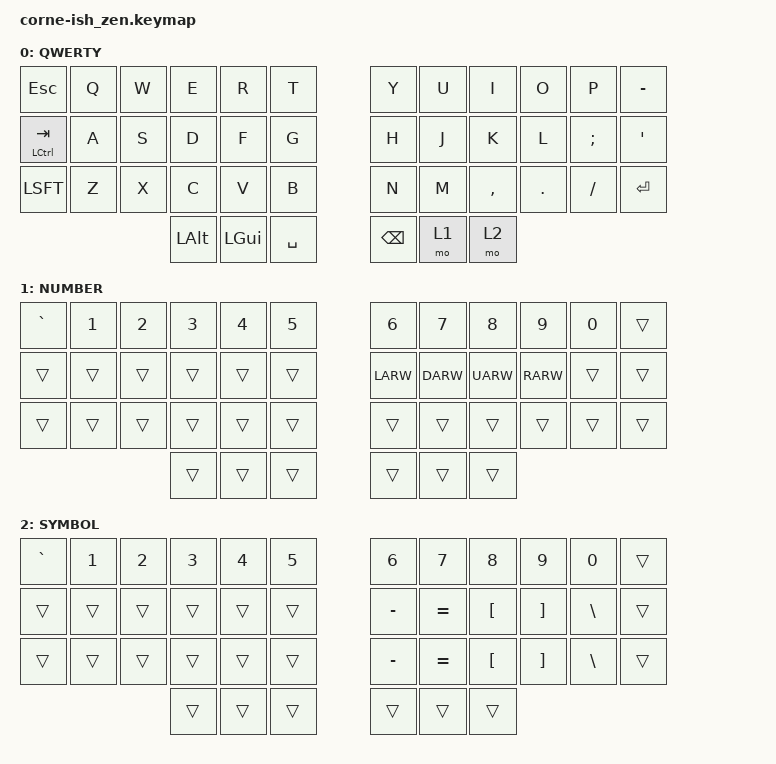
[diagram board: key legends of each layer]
/*
*
* Copyright (c) 2021 Darryl deHaan
* SPDX-License-Identifier: MIT
*
*/

#include <behaviors.dtsi>
#include <dt-bindings/zmk/keys.h>
#include <dt-bindings/zmk/bt.h>

/ {
        keymap {
                compatible = "zmk,keymap";

                default_layer {
                        label = "QWERTY";
// -----------------------------------------------------------------------------------------
// |  TAB |  Q  |  W  |  E  |  R  |  T  |   |  Y  |  U   |  I  |  O  |  P  | BKSP |
// | CTRL |  A  |  S  |  D  |  F  |  G  |   |  H  |  J   |  K  |  L  |  ;  |  '   |
// | SHFT |  Z  |  X  |  C  |  V  |  B  |   |  N  |  M   |  ,  |  .  |  /  | ESC  |
//                    | GUI | LWR | SPC |   | ENT | RSE  | ALT |
                        bindings = <
//   &kp TAB   &kp Q &kp W &kp E &kp R &kp T   &kp Y &kp U  &kp I     &kp O   &kp P    &kp BSPC
//   &kp LCTRL &kp A &kp S &kp D &kp F &kp G   &kp H &kp J  &kp K     &kp L   &kp SEMI &kp SQT
//   &kp LSHFT &kp Z &kp X &kp C &kp V &kp B   &kp N &kp M  &kp COMMA &kp DOT &kp FSLH &kp ESC
//                  &kp LGUI &mo 1 &kp SPACE   &kp RET &mo 2 &kp RALT

&kp ESC         &kp Q     &kp W     &kp E     &kp R    &kp T                               &kp Y     &kp U     &kp I      &kp O     &kp P      &kp MINUS 
&mt LCTL TAB    &kp A     &kp S     &kp D     &kp F    &kp G                               &kp H     &kp J     &kp K      &kp L     &kp SCLN   &kp QUOT
&kp LSFT        &kp Z     &kp X     &kp C     &kp V    &kp B                               &kp N     &kp M     &kp CMMA   &kp DOT   &kp FSLH   &kp RET
                                              &kp LALT  &kp LGUI  &kp SPC      &kp BKSP    &mo 1   &mo 2
                        >;
                };
                lower_layer {
                        label = "NUMBER";
// -----------------------------------------------------------------------------------------
// |  TAB |  1  |  2  |  3  |  4  |  5  |   |  6  |  7  |  8  |  9  |  0  | BKSP |
// | BTCLR| BT1 | BT2 | BT3 | BT4 | BT5 |   | LFT | DWN |  UP | RGT |     |      |
// | SHFT |     |     |     |     |     |   |     |     |     |     |     |      |
//                    | GUI |     | SPC |   | ENT |     | ALT |
                        bindings = <
//   &kp TAB    &kp N1       &kp N2       &kp N3       &kp N4       &kp N5         &kp N6   &kp N7   &kp N8 &kp N9    &kp N0 &kp BSPC
//   &bt BT_CLR &bt BT_SEL 0 &bt BT_SEL 1 &bt BT_SEL 2 &bt BT_SEL 3 &bt BT_SEL 4   &kp LEFT &kp DOWN &kp UP &kp RIGHT &trans &trans
//   &kp LSHFT  &trans       &trans       &trans       &trans       &trans         &trans   &trans   &trans &trans    &trans &trans
//                          	        &kp LGUI     &trans       &kp SPACE      &kp RET  &trans   &kp RALT
&kp GRAV &kp N1    &kp N2    &kp N3    &kp N4    &kp N5                        &kp N6     &kp N7     &kp N8    &kp N9     &kp N0    &trans
&trans   &trans    &trans    &trans    &trans    &trans                        &kp LARW   &kp DARW   &kp UARW  &kp RARW   &trans    &trans
&trans   &trans    &trans    &trans    &trans    &trans                        &trans     &trans     &trans    &trans     &trans    &trans
                                       &trans    &trans    &trans    &trans    &trans     &trans
                        >;
                };

                raise_layer {
                        label = "SYMBOL";
// -----------------------------------------------------------------------------------------
// |  TAB |  !  |  @  |  #  |  $  |  %  |   |  ^  |  &  |  *  |  (  |  )  | BKSP |
// | CTRL |     |     |     |     |     |   |  -  |  =  |  [  |  ]  |  \  |  `   |
// | SHFT |     |     |     |     |     |   |  _  |  +  |  {  |  }  | "|" |  ~   |
//                    | GUI |     | SPC |   | ENT |     | ALT |
                        bindings = <
//   &kp  TAB  &kp EXCL &kp AT &kp HASH &kp DLLR &kp PRCNT   &kp CARET &kp AMPS  &kp KP_MULTIPLY &kp LPAR &kp RPAR &kp BSPC
//   &kp LCTRL &trans   &trans &trans   &trans   &trans      &kp MINUS &kp EQUAL &kp LBKT        &kp RBKT &kp BSLH &kp GRAVE
//   &kp LSHFT &trans   &trans &trans   &trans   &trans      &kp UNDER &kp PLUS  &kp LBRC        &kp RBRC &kp PIPE &kp TILDE
//                    	     &kp LGUI &trans   &kp SPACE   &kp RET   &trans    &kp RALT
&kp GRAV &kp N1    &kp N2    &kp N3    &kp N4    &kp N5                        &kp N6      &kp N7    &kp N8    &kp N9     &kp N0     &trans
&trans   &trans    &trans    &trans    &trans    &trans                        &kp MINUS   &kp EQL   &kp LBKT  &kp RBKT   &kp BSLH   &trans
&trans   &trans    &trans    &trans    &trans    &trans                        &kp MINUS   &kp EQL   &kp LBKT  &kp RBKT   &kp BSLH   &trans
                                       &trans    &trans    &trans    &trans    &trans      &trans
                        >;
                };
        };
};
